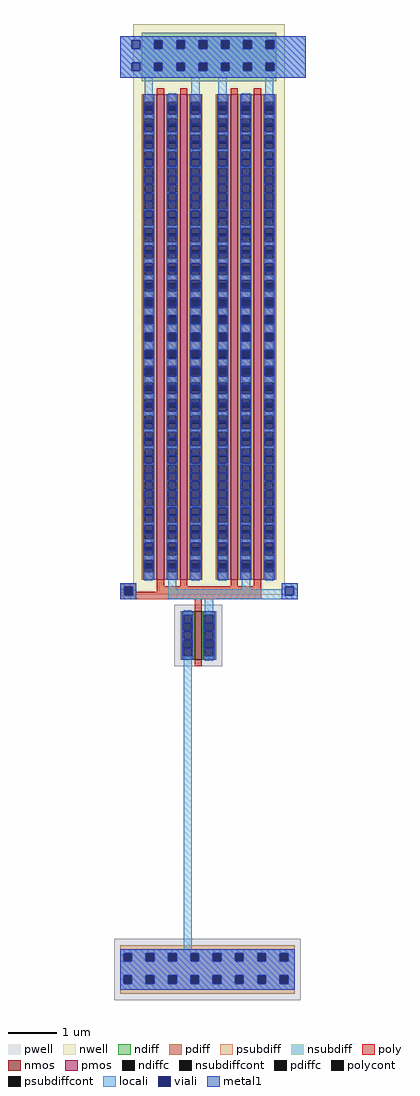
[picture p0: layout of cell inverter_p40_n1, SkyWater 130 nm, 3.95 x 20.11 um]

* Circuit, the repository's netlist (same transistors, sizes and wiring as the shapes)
* NGSPICE file created from inverter_p40_n1.ext - technology: sky130A

.subckt sky130_fd_pr__pfet_01v8_WELYR5 a_n125_n1000# a_63_n1000# a_n33_n1000# w_n161_n1062#
+ a_n63_n1056#
X0 a_63_n1000# a_n63_n1056# a_n33_n1000# w_n161_n1062# sky130_fd_pr__pfet_01v8 ad=3.1 pd=20.62 as=1.65 ps=10.33 w=10 l=0.15
X1 a_n33_n1000# a_n63_n1056# a_n125_n1000# w_n161_n1062# sky130_fd_pr__pfet_01v8 ad=1.65 pd=10.33 as=3.1 ps=20.62 w=10 l=0.15
.ends

.subckt sky130_fd_pr__nfet_01v8_QDUU3W a_n73_n100# a_15_n100# a_n15_n126# VSUBS
X0 a_15_n100# a_n15_n126# a_n73_n100# VSUBS sky130_fd_pr__nfet_01v8 ad=0.29 pd=2.58 as=0.29 ps=2.58 w=1 l=0.15
.ends

.subckt inverter_p40_n1 VDPWR Vout Vin VGND
Xsky130_fd_pr__pfet_01v8_WELYR5_0 VDPWR VDPWR Vout VDPWR Vin sky130_fd_pr__pfet_01v8_WELYR5
Xsky130_fd_pr__pfet_01v8_WELYR5_1 VDPWR VDPWR Vout VDPWR Vin sky130_fd_pr__pfet_01v8_WELYR5
Xsky130_fd_pr__nfet_01v8_QDUU3W_0 VGND Vout Vin VGND sky130_fd_pr__nfet_01v8_QDUU3W
.ends

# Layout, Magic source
magic
tech sky130A
magscale 1 2
<< nwell >>
rect -196 2418 430 2646
rect -148 2410 -114 2418
rect 44 2410 78 2418
rect 156 2410 190 2418
rect 348 2410 382 2418
rect -196 2394 430 2410
rect -148 2360 -114 2394
rect 44 2360 78 2394
rect 156 2360 190 2394
rect 348 2360 382 2394
rect -248 302 -232 318
rect 28 300 206 330
rect 466 302 482 318
<< pwell >>
rect -274 -1376 496 -1124
<< psubdiff >>
rect -248 -1183 470 -1150
rect -248 -1217 -235 -1183
rect -201 -1217 -143 -1183
rect -109 -1217 -51 -1183
rect -17 -1217 41 -1183
rect 75 -1217 133 -1183
rect 167 -1217 225 -1183
rect 259 -1217 317 -1183
rect 351 -1217 409 -1183
rect 443 -1217 470 -1183
rect -248 -1275 470 -1217
rect -248 -1309 -235 -1275
rect -201 -1309 -143 -1275
rect -109 -1309 -51 -1275
rect -17 -1309 41 -1275
rect 75 -1309 133 -1275
rect 167 -1309 225 -1275
rect 259 -1309 317 -1275
rect 351 -1309 409 -1275
rect 443 -1309 470 -1275
rect -248 -1350 470 -1309
<< nsubdiff >>
rect -160 2579 394 2610
rect -160 2545 -109 2579
rect -75 2545 -17 2579
rect 17 2545 75 2579
rect 109 2545 167 2579
rect 201 2545 259 2579
rect 293 2545 351 2579
rect 385 2545 394 2579
rect -160 2487 394 2545
rect -160 2453 -109 2487
rect -75 2453 -17 2487
rect 17 2453 75 2487
rect 109 2453 167 2487
rect 201 2453 259 2487
rect 293 2453 351 2487
rect 385 2453 394 2487
rect -160 2410 394 2453
<< psubdiffcont >>
rect -235 -1217 -201 -1183
rect -143 -1217 -109 -1183
rect -51 -1217 -17 -1183
rect 41 -1217 75 -1183
rect 133 -1217 167 -1183
rect 225 -1217 259 -1183
rect 317 -1217 351 -1183
rect 409 -1217 443 -1183
rect -235 -1309 -201 -1275
rect -143 -1309 -109 -1275
rect -51 -1309 -17 -1275
rect 41 -1309 75 -1275
rect 133 -1309 167 -1275
rect 225 -1309 259 -1275
rect 317 -1309 351 -1275
rect 409 -1309 443 -1275
<< nsubdiffcont >>
rect -109 2545 -75 2579
rect -17 2545 17 2579
rect 75 2545 109 2579
rect 167 2545 201 2579
rect 259 2545 293 2579
rect 351 2545 385 2579
rect -109 2453 -75 2487
rect -17 2453 17 2487
rect 75 2453 109 2487
rect 167 2453 201 2487
rect 259 2453 293 2487
rect 351 2453 385 2487
<< poly >>
rect -248 326 -182 342
rect -248 292 -232 326
rect -198 306 -182 326
rect 28 306 206 330
rect -198 300 206 306
rect -198 292 332 300
rect -248 276 332 292
rect 58 252 88 276
<< polycont >>
rect -232 292 -198 326
<< locali >>
rect -248 2579 516 2596
rect -248 2545 -201 2579
rect -167 2545 -109 2579
rect -75 2545 -17 2579
rect 17 2545 75 2579
rect 109 2545 167 2579
rect 201 2545 259 2579
rect 293 2545 351 2579
rect 385 2545 516 2579
rect -248 2487 516 2545
rect -248 2453 -201 2487
rect -167 2453 -109 2487
rect -75 2453 -17 2487
rect 17 2453 75 2487
rect 109 2453 167 2487
rect 201 2453 259 2487
rect 293 2453 351 2487
rect 385 2453 516 2487
rect -248 2424 516 2453
rect -148 2360 -114 2424
rect 44 2360 78 2424
rect 156 2360 190 2424
rect 348 2360 382 2424
rect -248 326 -182 342
rect -248 292 -232 326
rect -198 292 -182 326
rect -248 276 -182 292
rect -52 316 -18 368
rect 252 316 286 352
rect 416 326 482 342
rect 416 316 432 326
rect -52 292 432 316
rect 466 292 482 326
rect -52 276 482 292
rect 100 230 134 276
rect 12 -1166 46 22
rect -248 -1183 470 -1166
rect -248 -1217 -235 -1183
rect -201 -1217 -143 -1183
rect -109 -1217 -51 -1183
rect -17 -1217 41 -1183
rect 75 -1217 133 -1183
rect 167 -1217 225 -1183
rect 259 -1217 317 -1183
rect 351 -1217 409 -1183
rect 443 -1217 470 -1183
rect -248 -1275 470 -1217
rect -248 -1309 -235 -1275
rect -201 -1309 -143 -1275
rect -109 -1309 -51 -1275
rect -17 -1309 41 -1275
rect 75 -1309 133 -1275
rect 167 -1309 225 -1275
rect 259 -1309 317 -1275
rect 351 -1309 409 -1275
rect 443 -1309 470 -1275
rect -248 -1334 470 -1309
<< viali >>
rect -201 2545 -167 2579
rect -109 2545 -75 2579
rect -17 2545 17 2579
rect 75 2545 109 2579
rect 167 2545 201 2579
rect 259 2545 293 2579
rect 351 2545 385 2579
rect -201 2453 -167 2487
rect -109 2453 -75 2487
rect -17 2453 17 2487
rect 75 2453 109 2487
rect 167 2453 201 2487
rect 259 2453 293 2487
rect 351 2453 385 2487
rect -232 292 -198 326
rect 432 292 466 326
rect -235 -1217 -201 -1183
rect -143 -1217 -109 -1183
rect -51 -1217 -17 -1183
rect 41 -1217 75 -1183
rect 133 -1217 167 -1183
rect 225 -1217 259 -1183
rect 317 -1217 351 -1183
rect 409 -1217 443 -1183
rect -235 -1309 -201 -1275
rect -143 -1309 -109 -1275
rect -51 -1309 -17 -1275
rect 41 -1309 75 -1275
rect 133 -1309 167 -1275
rect 225 -1309 259 -1275
rect 317 -1309 351 -1275
rect 409 -1309 443 -1275
<< metal1 >>
rect -248 2579 516 2596
rect -248 2545 -201 2579
rect -167 2545 -109 2579
rect -75 2545 -17 2579
rect 17 2545 75 2579
rect 109 2545 167 2579
rect 201 2545 259 2579
rect 293 2545 351 2579
rect 385 2545 516 2579
rect -248 2487 516 2545
rect -248 2453 -201 2487
rect -167 2453 -109 2487
rect -75 2453 -17 2487
rect 17 2453 75 2487
rect 109 2453 167 2487
rect 201 2453 259 2487
rect 293 2453 351 2487
rect 385 2453 516 2487
rect -248 2424 516 2453
rect -248 326 -182 342
rect -248 292 -232 326
rect -198 292 -182 326
rect -248 276 -182 292
rect 416 326 482 342
rect 416 292 432 326
rect 466 292 482 326
rect 416 276 482 292
rect -248 -1183 470 -1166
rect -248 -1217 -235 -1183
rect -201 -1217 -143 -1183
rect -109 -1217 -51 -1183
rect -17 -1217 41 -1183
rect 75 -1217 133 -1183
rect 167 -1217 225 -1183
rect 259 -1217 317 -1183
rect 351 -1217 409 -1183
rect 443 -1217 470 -1183
rect -248 -1275 470 -1217
rect -248 -1309 -235 -1275
rect -201 -1309 -143 -1275
rect -109 -1309 -51 -1275
rect -17 -1309 41 -1275
rect 75 -1309 133 -1275
rect 167 -1309 225 -1275
rect 259 -1309 317 -1275
rect 351 -1309 409 -1275
rect 443 -1309 470 -1275
rect -248 -1334 470 -1309
use sky130_fd_pr__nfet_01v8_QDUU3W  sky130_fd_pr__nfet_01v8_QDUU3W_0
transform 1 0 73 0 1 126
box -99 -126 99 126
use sky130_fd_pr__pfet_01v8_WELYR5  sky130_fd_pr__pfet_01v8_WELYR5_0
transform 1 0 -35 0 1 1356
box -161 -1062 161 1062
use sky130_fd_pr__pfet_01v8_WELYR5  sky130_fd_pr__pfet_01v8_WELYR5_1
transform 1 0 269 0 1 1356
box -161 -1062 161 1062
<< end >>

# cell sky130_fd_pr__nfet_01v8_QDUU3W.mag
magic
tech sky130A
magscale 1 2
<< pwell >>
rect -99 -126 99 126
<< nmos >>
rect -15 -100 15 100
<< ndiff >>
rect -73 85 -15 100
rect -73 51 -61 85
rect -27 51 -15 85
rect -73 17 -15 51
rect -73 -17 -61 17
rect -27 -17 -15 17
rect -73 -51 -15 -17
rect -73 -85 -61 -51
rect -27 -85 -15 -51
rect -73 -100 -15 -85
rect 15 85 73 100
rect 15 51 27 85
rect 61 51 73 85
rect 15 17 73 51
rect 15 -17 27 17
rect 61 -17 73 17
rect 15 -51 73 -17
rect 15 -85 27 -51
rect 61 -85 73 -51
rect 15 -100 73 -85
<< ndiffc >>
rect -61 51 -27 85
rect -61 -17 -27 17
rect -61 -85 -27 -51
rect 27 51 61 85
rect 27 -17 61 17
rect 27 -85 61 -51
<< poly >>
rect -15 100 15 126
rect -15 -126 15 -100
<< locali >>
rect -61 85 -27 104
rect -61 17 -27 19
rect -61 -19 -27 -17
rect -61 -104 -27 -85
rect 27 85 61 104
rect 27 17 61 19
rect 27 -19 61 -17
rect 27 -104 61 -85
<< viali >>
rect -61 51 -27 53
rect -61 19 -27 51
rect -61 -51 -27 -19
rect -61 -53 -27 -51
rect 27 51 61 53
rect 27 19 61 51
rect 27 -51 61 -19
rect 27 -53 61 -51
<< metal1 >>
rect -67 53 -21 100
rect -67 19 -61 53
rect -27 19 -21 53
rect -67 -19 -21 19
rect -67 -53 -61 -19
rect -27 -53 -21 -19
rect -67 -100 -21 -53
rect 21 53 67 100
rect 21 19 27 53
rect 61 19 67 53
rect 21 -19 67 19
rect 21 -53 27 -19
rect 61 -53 67 -19
rect 21 -100 67 -53
<< end >>

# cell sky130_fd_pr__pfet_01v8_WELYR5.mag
magic
tech sky130A
magscale 1 2
<< nwell >>
rect -161 -1062 161 1062
<< pmos >>
rect -63 -1000 -33 1000
rect 33 -1000 63 1000
<< pdiff >>
rect -125 969 -63 1000
rect -125 935 -113 969
rect -79 935 -63 969
rect -125 901 -63 935
rect -125 867 -113 901
rect -79 867 -63 901
rect -125 833 -63 867
rect -125 799 -113 833
rect -79 799 -63 833
rect -125 765 -63 799
rect -125 731 -113 765
rect -79 731 -63 765
rect -125 697 -63 731
rect -125 663 -113 697
rect -79 663 -63 697
rect -125 629 -63 663
rect -125 595 -113 629
rect -79 595 -63 629
rect -125 561 -63 595
rect -125 527 -113 561
rect -79 527 -63 561
rect -125 493 -63 527
rect -125 459 -113 493
rect -79 459 -63 493
rect -125 425 -63 459
rect -125 391 -113 425
rect -79 391 -63 425
rect -125 357 -63 391
rect -125 323 -113 357
rect -79 323 -63 357
rect -125 289 -63 323
rect -125 255 -113 289
rect -79 255 -63 289
rect -125 221 -63 255
rect -125 187 -113 221
rect -79 187 -63 221
rect -125 153 -63 187
rect -125 119 -113 153
rect -79 119 -63 153
rect -125 85 -63 119
rect -125 51 -113 85
rect -79 51 -63 85
rect -125 17 -63 51
rect -125 -17 -113 17
rect -79 -17 -63 17
rect -125 -51 -63 -17
rect -125 -85 -113 -51
rect -79 -85 -63 -51
rect -125 -119 -63 -85
rect -125 -153 -113 -119
rect -79 -153 -63 -119
rect -125 -187 -63 -153
rect -125 -221 -113 -187
rect -79 -221 -63 -187
rect -125 -255 -63 -221
rect -125 -289 -113 -255
rect -79 -289 -63 -255
rect -125 -323 -63 -289
rect -125 -357 -113 -323
rect -79 -357 -63 -323
rect -125 -391 -63 -357
rect -125 -425 -113 -391
rect -79 -425 -63 -391
rect -125 -459 -63 -425
rect -125 -493 -113 -459
rect -79 -493 -63 -459
rect -125 -527 -63 -493
rect -125 -561 -113 -527
rect -79 -561 -63 -527
rect -125 -595 -63 -561
rect -125 -629 -113 -595
rect -79 -629 -63 -595
rect -125 -663 -63 -629
rect -125 -697 -113 -663
rect -79 -697 -63 -663
rect -125 -731 -63 -697
rect -125 -765 -113 -731
rect -79 -765 -63 -731
rect -125 -799 -63 -765
rect -125 -833 -113 -799
rect -79 -833 -63 -799
rect -125 -867 -63 -833
rect -125 -901 -113 -867
rect -79 -901 -63 -867
rect -125 -935 -63 -901
rect -125 -969 -113 -935
rect -79 -969 -63 -935
rect -125 -1000 -63 -969
rect -33 969 33 1000
rect -33 935 -17 969
rect 17 935 33 969
rect -33 901 33 935
rect -33 867 -17 901
rect 17 867 33 901
rect -33 833 33 867
rect -33 799 -17 833
rect 17 799 33 833
rect -33 765 33 799
rect -33 731 -17 765
rect 17 731 33 765
rect -33 697 33 731
rect -33 663 -17 697
rect 17 663 33 697
rect -33 629 33 663
rect -33 595 -17 629
rect 17 595 33 629
rect -33 561 33 595
rect -33 527 -17 561
rect 17 527 33 561
rect -33 493 33 527
rect -33 459 -17 493
rect 17 459 33 493
rect -33 425 33 459
rect -33 391 -17 425
rect 17 391 33 425
rect -33 357 33 391
rect -33 323 -17 357
rect 17 323 33 357
rect -33 289 33 323
rect -33 255 -17 289
rect 17 255 33 289
rect -33 221 33 255
rect -33 187 -17 221
rect 17 187 33 221
rect -33 153 33 187
rect -33 119 -17 153
rect 17 119 33 153
rect -33 85 33 119
rect -33 51 -17 85
rect 17 51 33 85
rect -33 17 33 51
rect -33 -17 -17 17
rect 17 -17 33 17
rect -33 -51 33 -17
rect -33 -85 -17 -51
rect 17 -85 33 -51
rect -33 -119 33 -85
rect -33 -153 -17 -119
rect 17 -153 33 -119
rect -33 -187 33 -153
rect -33 -221 -17 -187
rect 17 -221 33 -187
rect -33 -255 33 -221
rect -33 -289 -17 -255
rect 17 -289 33 -255
rect -33 -323 33 -289
rect -33 -357 -17 -323
rect 17 -357 33 -323
rect -33 -391 33 -357
rect -33 -425 -17 -391
rect 17 -425 33 -391
rect -33 -459 33 -425
rect -33 -493 -17 -459
rect 17 -493 33 -459
rect -33 -527 33 -493
rect -33 -561 -17 -527
rect 17 -561 33 -527
rect -33 -595 33 -561
rect -33 -629 -17 -595
rect 17 -629 33 -595
rect -33 -663 33 -629
rect -33 -697 -17 -663
rect 17 -697 33 -663
rect -33 -731 33 -697
rect -33 -765 -17 -731
rect 17 -765 33 -731
rect -33 -799 33 -765
rect -33 -833 -17 -799
rect 17 -833 33 -799
rect -33 -867 33 -833
rect -33 -901 -17 -867
rect 17 -901 33 -867
rect -33 -935 33 -901
rect -33 -969 -17 -935
rect 17 -969 33 -935
rect -33 -1000 33 -969
rect 63 969 125 1000
rect 63 935 79 969
rect 113 935 125 969
rect 63 901 125 935
rect 63 867 79 901
rect 113 867 125 901
rect 63 833 125 867
rect 63 799 79 833
rect 113 799 125 833
rect 63 765 125 799
rect 63 731 79 765
rect 113 731 125 765
rect 63 697 125 731
rect 63 663 79 697
rect 113 663 125 697
rect 63 629 125 663
rect 63 595 79 629
rect 113 595 125 629
rect 63 561 125 595
rect 63 527 79 561
rect 113 527 125 561
rect 63 493 125 527
rect 63 459 79 493
rect 113 459 125 493
rect 63 425 125 459
rect 63 391 79 425
rect 113 391 125 425
rect 63 357 125 391
rect 63 323 79 357
rect 113 323 125 357
rect 63 289 125 323
rect 63 255 79 289
rect 113 255 125 289
rect 63 221 125 255
rect 63 187 79 221
rect 113 187 125 221
rect 63 153 125 187
rect 63 119 79 153
rect 113 119 125 153
rect 63 85 125 119
rect 63 51 79 85
rect 113 51 125 85
rect 63 17 125 51
rect 63 -17 79 17
rect 113 -17 125 17
rect 63 -51 125 -17
rect 63 -85 79 -51
rect 113 -85 125 -51
rect 63 -119 125 -85
rect 63 -153 79 -119
rect 113 -153 125 -119
rect 63 -187 125 -153
rect 63 -221 79 -187
rect 113 -221 125 -187
rect 63 -255 125 -221
rect 63 -289 79 -255
rect 113 -289 125 -255
rect 63 -323 125 -289
rect 63 -357 79 -323
rect 113 -357 125 -323
rect 63 -391 125 -357
rect 63 -425 79 -391
rect 113 -425 125 -391
rect 63 -459 125 -425
rect 63 -493 79 -459
rect 113 -493 125 -459
rect 63 -527 125 -493
rect 63 -561 79 -527
rect 113 -561 125 -527
rect 63 -595 125 -561
rect 63 -629 79 -595
rect 113 -629 125 -595
rect 63 -663 125 -629
rect 63 -697 79 -663
rect 113 -697 125 -663
rect 63 -731 125 -697
rect 63 -765 79 -731
rect 113 -765 125 -731
rect 63 -799 125 -765
rect 63 -833 79 -799
rect 113 -833 125 -799
rect 63 -867 125 -833
rect 63 -901 79 -867
rect 113 -901 125 -867
rect 63 -935 125 -901
rect 63 -969 79 -935
rect 113 -969 125 -935
rect 63 -1000 125 -969
<< pdiffc >>
rect -113 935 -79 969
rect -113 867 -79 901
rect -113 799 -79 833
rect -113 731 -79 765
rect -113 663 -79 697
rect -113 595 -79 629
rect -113 527 -79 561
rect -113 459 -79 493
rect -113 391 -79 425
rect -113 323 -79 357
rect -113 255 -79 289
rect -113 187 -79 221
rect -113 119 -79 153
rect -113 51 -79 85
rect -113 -17 -79 17
rect -113 -85 -79 -51
rect -113 -153 -79 -119
rect -113 -221 -79 -187
rect -113 -289 -79 -255
rect -113 -357 -79 -323
rect -113 -425 -79 -391
rect -113 -493 -79 -459
rect -113 -561 -79 -527
rect -113 -629 -79 -595
rect -113 -697 -79 -663
rect -113 -765 -79 -731
rect -113 -833 -79 -799
rect -113 -901 -79 -867
rect -113 -969 -79 -935
rect -17 935 17 969
rect -17 867 17 901
rect -17 799 17 833
rect -17 731 17 765
rect -17 663 17 697
rect -17 595 17 629
rect -17 527 17 561
rect -17 459 17 493
rect -17 391 17 425
rect -17 323 17 357
rect -17 255 17 289
rect -17 187 17 221
rect -17 119 17 153
rect -17 51 17 85
rect -17 -17 17 17
rect -17 -85 17 -51
rect -17 -153 17 -119
rect -17 -221 17 -187
rect -17 -289 17 -255
rect -17 -357 17 -323
rect -17 -425 17 -391
rect -17 -493 17 -459
rect -17 -561 17 -527
rect -17 -629 17 -595
rect -17 -697 17 -663
rect -17 -765 17 -731
rect -17 -833 17 -799
rect -17 -901 17 -867
rect -17 -969 17 -935
rect 79 935 113 969
rect 79 867 113 901
rect 79 799 113 833
rect 79 731 113 765
rect 79 663 113 697
rect 79 595 113 629
rect 79 527 113 561
rect 79 459 113 493
rect 79 391 113 425
rect 79 323 113 357
rect 79 255 113 289
rect 79 187 113 221
rect 79 119 113 153
rect 79 51 113 85
rect 79 -17 113 17
rect 79 -85 113 -51
rect 79 -153 113 -119
rect 79 -221 113 -187
rect 79 -289 113 -255
rect 79 -357 113 -323
rect 79 -425 113 -391
rect 79 -493 113 -459
rect 79 -561 113 -527
rect 79 -629 113 -595
rect 79 -697 113 -663
rect 79 -765 113 -731
rect 79 -833 113 -799
rect 79 -901 113 -867
rect 79 -969 113 -935
<< poly >>
rect -63 1000 -33 1026
rect 33 1000 63 1026
rect -63 -1026 -33 -1000
rect 33 -1026 63 -1000
rect -63 -1056 63 -1026
<< locali >>
rect -113 969 -79 1004
rect -113 901 -79 919
rect -113 833 -79 847
rect -113 765 -79 775
rect -113 697 -79 703
rect -113 629 -79 631
rect -113 593 -79 595
rect -113 521 -79 527
rect -113 449 -79 459
rect -113 377 -79 391
rect -113 305 -79 323
rect -113 233 -79 255
rect -113 161 -79 187
rect -113 89 -79 119
rect -113 17 -79 51
rect -113 -51 -79 -17
rect -113 -119 -79 -89
rect -113 -187 -79 -161
rect -113 -255 -79 -233
rect -113 -323 -79 -305
rect -113 -391 -79 -377
rect -113 -459 -79 -449
rect -113 -527 -79 -521
rect -113 -595 -79 -593
rect -113 -631 -79 -629
rect -113 -703 -79 -697
rect -113 -775 -79 -765
rect -113 -847 -79 -833
rect -113 -919 -79 -901
rect -113 -1004 -79 -969
rect -17 969 17 1004
rect -17 901 17 919
rect -17 833 17 847
rect -17 765 17 775
rect -17 697 17 703
rect -17 629 17 631
rect -17 593 17 595
rect -17 521 17 527
rect -17 449 17 459
rect -17 377 17 391
rect -17 305 17 323
rect -17 233 17 255
rect -17 161 17 187
rect -17 89 17 119
rect -17 17 17 51
rect -17 -51 17 -17
rect -17 -119 17 -89
rect -17 -187 17 -161
rect -17 -255 17 -233
rect -17 -323 17 -305
rect -17 -391 17 -377
rect -17 -459 17 -449
rect -17 -527 17 -521
rect -17 -595 17 -593
rect -17 -631 17 -629
rect -17 -703 17 -697
rect -17 -775 17 -765
rect -17 -847 17 -833
rect -17 -919 17 -901
rect -17 -1004 17 -969
rect 79 969 113 1004
rect 79 901 113 919
rect 79 833 113 847
rect 79 765 113 775
rect 79 697 113 703
rect 79 629 113 631
rect 79 593 113 595
rect 79 521 113 527
rect 79 449 113 459
rect 79 377 113 391
rect 79 305 113 323
rect 79 233 113 255
rect 79 161 113 187
rect 79 89 113 119
rect 79 17 113 51
rect 79 -51 113 -17
rect 79 -119 113 -89
rect 79 -187 113 -161
rect 79 -255 113 -233
rect 79 -323 113 -305
rect 79 -391 113 -377
rect 79 -459 113 -449
rect 79 -527 113 -521
rect 79 -595 113 -593
rect 79 -631 113 -629
rect 79 -703 113 -697
rect 79 -775 113 -765
rect 79 -847 113 -833
rect 79 -919 113 -901
rect 79 -1004 113 -969
<< viali >>
rect -113 935 -79 953
rect -113 919 -79 935
rect -113 867 -79 881
rect -113 847 -79 867
rect -113 799 -79 809
rect -113 775 -79 799
rect -113 731 -79 737
rect -113 703 -79 731
rect -113 663 -79 665
rect -113 631 -79 663
rect -113 561 -79 593
rect -113 559 -79 561
rect -113 493 -79 521
rect -113 487 -79 493
rect -113 425 -79 449
rect -113 415 -79 425
rect -113 357 -79 377
rect -113 343 -79 357
rect -113 289 -79 305
rect -113 271 -79 289
rect -113 221 -79 233
rect -113 199 -79 221
rect -113 153 -79 161
rect -113 127 -79 153
rect -113 85 -79 89
rect -113 55 -79 85
rect -113 -17 -79 17
rect -113 -85 -79 -55
rect -113 -89 -79 -85
rect -113 -153 -79 -127
rect -113 -161 -79 -153
rect -113 -221 -79 -199
rect -113 -233 -79 -221
rect -113 -289 -79 -271
rect -113 -305 -79 -289
rect -113 -357 -79 -343
rect -113 -377 -79 -357
rect -113 -425 -79 -415
rect -113 -449 -79 -425
rect -113 -493 -79 -487
rect -113 -521 -79 -493
rect -113 -561 -79 -559
rect -113 -593 -79 -561
rect -113 -663 -79 -631
rect -113 -665 -79 -663
rect -113 -731 -79 -703
rect -113 -737 -79 -731
rect -113 -799 -79 -775
rect -113 -809 -79 -799
rect -113 -867 -79 -847
rect -113 -881 -79 -867
rect -113 -935 -79 -919
rect -113 -953 -79 -935
rect -17 935 17 953
rect -17 919 17 935
rect -17 867 17 881
rect -17 847 17 867
rect -17 799 17 809
rect -17 775 17 799
rect -17 731 17 737
rect -17 703 17 731
rect -17 663 17 665
rect -17 631 17 663
rect -17 561 17 593
rect -17 559 17 561
rect -17 493 17 521
rect -17 487 17 493
rect -17 425 17 449
rect -17 415 17 425
rect -17 357 17 377
rect -17 343 17 357
rect -17 289 17 305
rect -17 271 17 289
rect -17 221 17 233
rect -17 199 17 221
rect -17 153 17 161
rect -17 127 17 153
rect -17 85 17 89
rect -17 55 17 85
rect -17 -17 17 17
rect -17 -85 17 -55
rect -17 -89 17 -85
rect -17 -153 17 -127
rect -17 -161 17 -153
rect -17 -221 17 -199
rect -17 -233 17 -221
rect -17 -289 17 -271
rect -17 -305 17 -289
rect -17 -357 17 -343
rect -17 -377 17 -357
rect -17 -425 17 -415
rect -17 -449 17 -425
rect -17 -493 17 -487
rect -17 -521 17 -493
rect -17 -561 17 -559
rect -17 -593 17 -561
rect -17 -663 17 -631
rect -17 -665 17 -663
rect -17 -731 17 -703
rect -17 -737 17 -731
rect -17 -799 17 -775
rect -17 -809 17 -799
rect -17 -867 17 -847
rect -17 -881 17 -867
rect -17 -935 17 -919
rect -17 -953 17 -935
rect 79 935 113 953
rect 79 919 113 935
rect 79 867 113 881
rect 79 847 113 867
rect 79 799 113 809
rect 79 775 113 799
rect 79 731 113 737
rect 79 703 113 731
rect 79 663 113 665
rect 79 631 113 663
rect 79 561 113 593
rect 79 559 113 561
rect 79 493 113 521
rect 79 487 113 493
rect 79 425 113 449
rect 79 415 113 425
rect 79 357 113 377
rect 79 343 113 357
rect 79 289 113 305
rect 79 271 113 289
rect 79 221 113 233
rect 79 199 113 221
rect 79 153 113 161
rect 79 127 113 153
rect 79 85 113 89
rect 79 55 113 85
rect 79 -17 113 17
rect 79 -85 113 -55
rect 79 -89 113 -85
rect 79 -153 113 -127
rect 79 -161 113 -153
rect 79 -221 113 -199
rect 79 -233 113 -221
rect 79 -289 113 -271
rect 79 -305 113 -289
rect 79 -357 113 -343
rect 79 -377 113 -357
rect 79 -425 113 -415
rect 79 -449 113 -425
rect 79 -493 113 -487
rect 79 -521 113 -493
rect 79 -561 113 -559
rect 79 -593 113 -561
rect 79 -663 113 -631
rect 79 -665 113 -663
rect 79 -731 113 -703
rect 79 -737 113 -731
rect 79 -799 113 -775
rect 79 -809 113 -799
rect 79 -867 113 -847
rect 79 -881 113 -867
rect 79 -935 113 -919
rect 79 -953 113 -935
<< metal1 >>
rect -119 953 -73 1000
rect -119 919 -113 953
rect -79 919 -73 953
rect -119 881 -73 919
rect -119 847 -113 881
rect -79 847 -73 881
rect -119 809 -73 847
rect -119 775 -113 809
rect -79 775 -73 809
rect -119 737 -73 775
rect -119 703 -113 737
rect -79 703 -73 737
rect -119 665 -73 703
rect -119 631 -113 665
rect -79 631 -73 665
rect -119 593 -73 631
rect -119 559 -113 593
rect -79 559 -73 593
rect -119 521 -73 559
rect -119 487 -113 521
rect -79 487 -73 521
rect -119 449 -73 487
rect -119 415 -113 449
rect -79 415 -73 449
rect -119 377 -73 415
rect -119 343 -113 377
rect -79 343 -73 377
rect -119 305 -73 343
rect -119 271 -113 305
rect -79 271 -73 305
rect -119 233 -73 271
rect -119 199 -113 233
rect -79 199 -73 233
rect -119 161 -73 199
rect -119 127 -113 161
rect -79 127 -73 161
rect -119 89 -73 127
rect -119 55 -113 89
rect -79 55 -73 89
rect -119 17 -73 55
rect -119 -17 -113 17
rect -79 -17 -73 17
rect -119 -55 -73 -17
rect -119 -89 -113 -55
rect -79 -89 -73 -55
rect -119 -127 -73 -89
rect -119 -161 -113 -127
rect -79 -161 -73 -127
rect -119 -199 -73 -161
rect -119 -233 -113 -199
rect -79 -233 -73 -199
rect -119 -271 -73 -233
rect -119 -305 -113 -271
rect -79 -305 -73 -271
rect -119 -343 -73 -305
rect -119 -377 -113 -343
rect -79 -377 -73 -343
rect -119 -415 -73 -377
rect -119 -449 -113 -415
rect -79 -449 -73 -415
rect -119 -487 -73 -449
rect -119 -521 -113 -487
rect -79 -521 -73 -487
rect -119 -559 -73 -521
rect -119 -593 -113 -559
rect -79 -593 -73 -559
rect -119 -631 -73 -593
rect -119 -665 -113 -631
rect -79 -665 -73 -631
rect -119 -703 -73 -665
rect -119 -737 -113 -703
rect -79 -737 -73 -703
rect -119 -775 -73 -737
rect -119 -809 -113 -775
rect -79 -809 -73 -775
rect -119 -847 -73 -809
rect -119 -881 -113 -847
rect -79 -881 -73 -847
rect -119 -919 -73 -881
rect -119 -953 -113 -919
rect -79 -953 -73 -919
rect -119 -1000 -73 -953
rect -23 953 23 1000
rect -23 919 -17 953
rect 17 919 23 953
rect -23 881 23 919
rect -23 847 -17 881
rect 17 847 23 881
rect -23 809 23 847
rect -23 775 -17 809
rect 17 775 23 809
rect -23 737 23 775
rect -23 703 -17 737
rect 17 703 23 737
rect -23 665 23 703
rect -23 631 -17 665
rect 17 631 23 665
rect -23 593 23 631
rect -23 559 -17 593
rect 17 559 23 593
rect -23 521 23 559
rect -23 487 -17 521
rect 17 487 23 521
rect -23 449 23 487
rect -23 415 -17 449
rect 17 415 23 449
rect -23 377 23 415
rect -23 343 -17 377
rect 17 343 23 377
rect -23 305 23 343
rect -23 271 -17 305
rect 17 271 23 305
rect -23 233 23 271
rect -23 199 -17 233
rect 17 199 23 233
rect -23 161 23 199
rect -23 127 -17 161
rect 17 127 23 161
rect -23 89 23 127
rect -23 55 -17 89
rect 17 55 23 89
rect -23 17 23 55
rect -23 -17 -17 17
rect 17 -17 23 17
rect -23 -55 23 -17
rect -23 -89 -17 -55
rect 17 -89 23 -55
rect -23 -127 23 -89
rect -23 -161 -17 -127
rect 17 -161 23 -127
rect -23 -199 23 -161
rect -23 -233 -17 -199
rect 17 -233 23 -199
rect -23 -271 23 -233
rect -23 -305 -17 -271
rect 17 -305 23 -271
rect -23 -343 23 -305
rect -23 -377 -17 -343
rect 17 -377 23 -343
rect -23 -415 23 -377
rect -23 -449 -17 -415
rect 17 -449 23 -415
rect -23 -487 23 -449
rect -23 -521 -17 -487
rect 17 -521 23 -487
rect -23 -559 23 -521
rect -23 -593 -17 -559
rect 17 -593 23 -559
rect -23 -631 23 -593
rect -23 -665 -17 -631
rect 17 -665 23 -631
rect -23 -703 23 -665
rect -23 -737 -17 -703
rect 17 -737 23 -703
rect -23 -775 23 -737
rect -23 -809 -17 -775
rect 17 -809 23 -775
rect -23 -847 23 -809
rect -23 -881 -17 -847
rect 17 -881 23 -847
rect -23 -919 23 -881
rect -23 -953 -17 -919
rect 17 -953 23 -919
rect -23 -1000 23 -953
rect 73 953 119 1000
rect 73 919 79 953
rect 113 919 119 953
rect 73 881 119 919
rect 73 847 79 881
rect 113 847 119 881
rect 73 809 119 847
rect 73 775 79 809
rect 113 775 119 809
rect 73 737 119 775
rect 73 703 79 737
rect 113 703 119 737
rect 73 665 119 703
rect 73 631 79 665
rect 113 631 119 665
rect 73 593 119 631
rect 73 559 79 593
rect 113 559 119 593
rect 73 521 119 559
rect 73 487 79 521
rect 113 487 119 521
rect 73 449 119 487
rect 73 415 79 449
rect 113 415 119 449
rect 73 377 119 415
rect 73 343 79 377
rect 113 343 119 377
rect 73 305 119 343
rect 73 271 79 305
rect 113 271 119 305
rect 73 233 119 271
rect 73 199 79 233
rect 113 199 119 233
rect 73 161 119 199
rect 73 127 79 161
rect 113 127 119 161
rect 73 89 119 127
rect 73 55 79 89
rect 113 55 119 89
rect 73 17 119 55
rect 73 -17 79 17
rect 113 -17 119 17
rect 73 -55 119 -17
rect 73 -89 79 -55
rect 113 -89 119 -55
rect 73 -127 119 -89
rect 73 -161 79 -127
rect 113 -161 119 -127
rect 73 -199 119 -161
rect 73 -233 79 -199
rect 113 -233 119 -199
rect 73 -271 119 -233
rect 73 -305 79 -271
rect 113 -305 119 -271
rect 73 -343 119 -305
rect 73 -377 79 -343
rect 113 -377 119 -343
rect 73 -415 119 -377
rect 73 -449 79 -415
rect 113 -449 119 -415
rect 73 -487 119 -449
rect 73 -521 79 -487
rect 113 -521 119 -487
rect 73 -559 119 -521
rect 73 -593 79 -559
rect 113 -593 119 -559
rect 73 -631 119 -593
rect 73 -665 79 -631
rect 113 -665 119 -631
rect 73 -703 119 -665
rect 73 -737 79 -703
rect 113 -737 119 -703
rect 73 -775 119 -737
rect 73 -809 79 -775
rect 113 -809 119 -775
rect 73 -847 119 -809
rect 73 -881 79 -847
rect 113 -881 119 -847
rect 73 -919 119 -881
rect 73 -953 79 -919
rect 113 -953 119 -919
rect 73 -1000 119 -953
<< end >>
